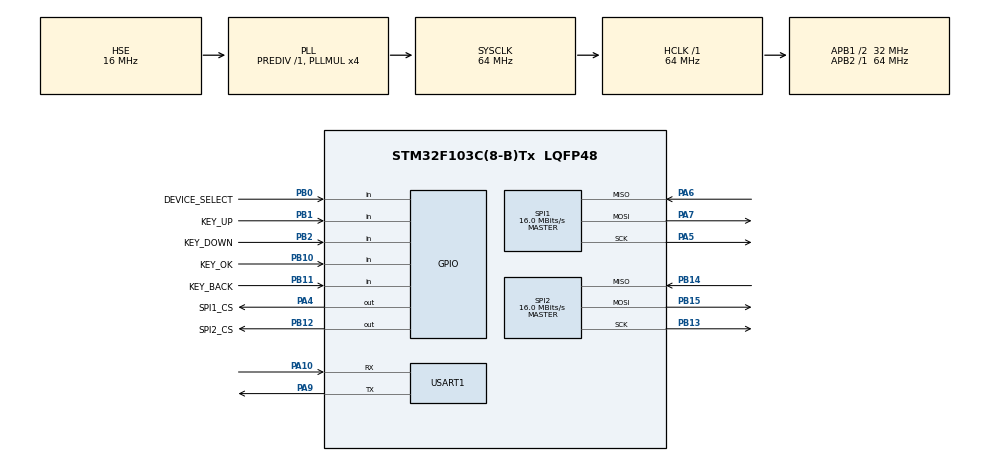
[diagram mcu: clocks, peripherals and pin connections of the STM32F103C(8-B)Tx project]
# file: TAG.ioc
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Mcu.Family=STM32F1
Mcu.Name=STM32F103C(8-B)Tx
Mcu.Package=LQFP48
NVIC.PriorityGroup=NVIC_PRIORITYGROUP_4
NVIC.TIM4_IRQn=true\:0\:0\:false\:false\:true\:true\:true\:true
NVIC.USART1_IRQn=true\:0\:0\:false\:false\:true\:true\:true\:true
PA10.Mode=Asynchronous
PA10.Signal=USART1_RX
PA13.Mode=Serial_Wire
PA13.Signal=SYS_JTMS-SWDIO
PA14.Mode=Serial_Wire
PA14.Signal=SYS_JTCK-SWCLK
PA4.GPIO_Label=SPI1_CS
PA4.GPIO_PuPd=GPIO_PULLUP
PA4.GPIO_Speed=GPIO_SPEED_FREQ_HIGH
PA4.PinState=GPIO_PIN_SET
PA4.Signal=GPIO_Output
PA5.Mode=Full_Duplex_Master
PA5.Signal=SPI1_SCK
PA6.Mode=Full_Duplex_Master
PA6.Signal=SPI1_MISO
PA7.Mode=Full_Duplex_Master
PA7.Signal=SPI1_MOSI
PA9.Mode=Asynchronous
PA9.Signal=USART1_TX
PB0.GPIO_Label=DEVICE_SELECT
PB0.GPIO_PuPd=GPIO_PULLUP
PB0.Signal=GPIO_Input
PB1.GPIO_Label=KEY_UP
PB1.GPIO_PuPd=GPIO_PULLUP
PB1.Signal=GPIO_Input
PB10.GPIO_Label=KEY_OK
PB10.GPIO_PuPd=GPIO_PULLUP
PB10.Signal=GPIO_Input
PB11.GPIO_Label=KEY_BACK
PB11.GPIO_PuPd=GPIO_PULLUP
PB11.Signal=GPIO_Input
PB12.GPIO_Label=SPI2_CS
PB12.GPIO_PuPd=GPIO_PULLUP
PB12.GPIO_Speed=GPIO_SPEED_FREQ_HIGH
PB12.PinState=GPIO_PIN_SET
PB12.Signal=GPIO_Output
PB13.Mode=Full_Duplex_Master
PB13.Signal=SPI2_SCK
PB14.Mode=Full_Duplex_Master
PB14.Signal=SPI2_MISO
PB15.Mode=Full_Duplex_Master
PB15.Signal=SPI2_MOSI
PB2.GPIO_Label=KEY_DOWN
PB2.GPIO_PuPd=GPIO_PULLUP
PB2.Signal=GPIO_Input
PD0-OSC_IN.Mode=HSE-External-Oscillator
PD0-OSC_IN.Signal=RCC_OSC_IN
PD1-OSC_OUT.Mode=HSE-External-Oscillator
PD1-OSC_OUT.Signal=RCC_OSC_OUT
ProjectManager.HeapSize=0x200
ProjectManager.StackSize=0x400
ProjectManager.TargetToolchain=STM32CubeIDE
RCC.AHBFreq_Value=64000000
RCC.APB1CLKDivider=RCC_HCLK_DIV2
RCC.APB1Freq_Value=32000000
RCC.APB1TimFreq_Value=64000000
RCC.APB2Freq_Value=64000000
RCC.APB2TimFreq_Value=64000000
RCC.HCLKFreq_Value=64000000
RCC.HSE_VALUE=16000000
RCC.PLLMUL=RCC_PLL_MUL4
RCC.PLLSourceVirtual=RCC_PLLSOURCE_HSE
RCC.SYSCLKFreq_VALUE=64000000
RCC.SYSCLKSource=RCC_SYSCLKSOURCE_PLLCLK
RCC.USBFreq_Value=64000000
SPI1.BaudRatePrescaler=SPI_BAUDRATEPRESCALER_4
SPI1.CalculateBaudRate=16.0 MBits/s
SPI1.Direction=SPI_DIRECTION_2LINES
SPI1.Mode=SPI_MODE_MASTER
SPI1.VirtualType=VM_MASTER
SPI2.BaudRatePrescaler=SPI_BAUDRATEPRESCALER_2
SPI2.CalculateBaudRate=16.0 MBits/s
SPI2.Direction=SPI_DIRECTION_2LINES
SPI2.Mode=SPI_MODE_MASTER
SPI2.VirtualType=VM_MASTER
TIM4.Period=320-1
TIM4.Prescaler=160-1
USART1.VirtualMode=VM_ASYNC
VP_TIM4_VS_ClockSourceINT.Mode=Internal
board=custom

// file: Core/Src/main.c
/* USER CODE BEGIN Header */
/**
  ******************************************************************************
  * @file           : main.c
  * @brief          : Main program body
  ******************************************************************************
  * @attention
  *
  * Copyright (c) 2024 STMicroelectronics.
  * All rights reserved.
  *
  * This software is licensed under terms that can be found in the LICENSE file
  * in the root directory of this software component.
  * If no LICENSE file comes with this software, it is provided AS-IS.
  *
  ******************************************************************************
  */
/* USER CODE END Header */
#include "main.h"

/* USER CODE BEGIN Includes */
#include "hmi_uart.h"
#include "Application.h"
#include "key.h"

/* USER CODE END Includes */

/* USER CODE BEGIN PTD */
struct flags_t flags;
/* USER CODE END PTD */

SPI_HandleTypeDef hspi1;
SPI_HandleTypeDef hspi2;

TIM_HandleTypeDef htim4;

UART_HandleTypeDef huart1;

void SystemClock_Config(void);
static void MX_GPIO_Init(void);
static void MX_SPI1_Init(void);
static void MX_SPI2_Init(void);
static void MX_TIM4_Init(void);
static void MX_USART1_UART_Init(void);

int main(void)
{
  /* USER CODE BEGIN 1 */
  HAL_DeInit();
  HAL_RCC_DeInit();

  /* USER CODE END 1 */

  /* MCU Configuration--------------------------------------------------------*/

  /* Reset of all peripherals, Initializes the Flash interface and the Systick. */
  HAL_Init();

  /* Configure the system clock */
  SystemClock_Config();

  /* Initialize all configured peripherals */
  MX_GPIO_Init();
  MX_SPI1_Init();
  MX_SPI2_Init();
  MX_TIM4_Init();
  MX_USART1_UART_Init();

  /* Infinite loop */
  /* USER CODE BEGIN WHILE */
  while (1)
  {
		if(flags.opt_1ms_flag == 10)
		{
			flags.opt_1ms_flag = 0;
			key_scan();
		}
		/* Receive information from the HMI display */
		hmi_recv();
		if(flags.func_allow_run == 1)
		{
			flags.func_allow_run = 0;
			if(flags.function != NULL)
			    flags.function();	//Run sample program
		}
    /* USER CODE END WHILE */

  }
}

void SystemClock_Config(void)
{
  RCC_OscInitTypeDef RCC_OscInitStruct = {0};
  RCC_ClkInitTypeDef RCC_ClkInitStruct = {0};

  /** Initializes the RCC Oscillators according to the specified parameters
  * in the RCC_OscInitTypeDef structure.
  */
  RCC_OscInitStruct.OscillatorType = RCC_OSCILLATORTYPE_HSE;
  RCC_OscInitStruct.HSEState = RCC_HSE_ON;
  RCC_OscInitStruct.HSEPredivValue = RCC_HSE_PREDIV_DIV1;
  RCC_OscInitStruct.HSIState = RCC_HSI_ON;
  RCC_OscInitStruct.PLL.PLLState = RCC_PLL_ON;
  RCC_OscInitStruct.PLL.PLLSource = RCC_PLLSOURCE_HSE;
  RCC_OscInitStruct.PLL.PLLMUL = RCC_PLL_MUL4;
  if (HAL_RCC_OscConfig(&RCC_OscInitStruct) != HAL_OK)
  {
    Error_Handler();
  }

  /** Initializes the CPU, AHB and APB buses clocks
  */
  RCC_ClkInitStruct.ClockType = RCC_CLOCKTYPE_HCLK|RCC_CLOCKTYPE_SYSCLK
                              |RCC_CLOCKTYPE_PCLK1|RCC_CLOCKTYPE_PCLK2;
  RCC_ClkInitStruct.SYSCLKSource = RCC_SYSCLKSOURCE_PLLCLK;
  RCC_ClkInitStruct.AHBCLKDivider = RCC_SYSCLK_DIV1;
  RCC_ClkInitStruct.APB1CLKDivider = RCC_HCLK_DIV2;
  RCC_ClkInitStruct.APB2CLKDivider = RCC_HCLK_DIV1;

  if (HAL_RCC_ClockConfig(&RCC_ClkInitStruct, FLASH_LATENCY_2) != HAL_OK)
  {
    Error_Handler();
  }
}

static void MX_SPI1_Init(void)
{

  /* SPI1 parameter configuration*/
  hspi1.Instance = SPI1;
  hspi1.Init.Mode = SPI_MODE_MASTER;
  hspi1.Init.Direction = SPI_DIRECTION_2LINES;
  hspi1.Init.DataSize = SPI_DATASIZE_8BIT;
  hspi1.Init.CLKPolarity = SPI_POLARITY_LOW;
  hspi1.Init.CLKPhase = SPI_PHASE_1EDGE;
  hspi1.Init.NSS = SPI_NSS_SOFT;
  hspi1.Init.BaudRatePrescaler = SPI_BAUDRATEPRESCALER_4;
  hspi1.Init.FirstBit = SPI_FIRSTBIT_MSB;
  hspi1.Init.TIMode = SPI_TIMODE_DISABLE;
  hspi1.Init.CRCCalculation = SPI_CRCCALCULATION_DISABLE;
  hspi1.Init.CRCPolynomial = 10;
  if (HAL_SPI_Init(&hspi1) != HAL_OK)
  {
    Error_Handler();
  }

}

static void MX_SPI2_Init(void)
{

  /* SPI2 parameter configuration*/
  hspi2.Instance = SPI2;
  hspi2.Init.Mode = SPI_MODE_MASTER;
  hspi2.Init.Direction = SPI_DIRECTION_2LINES;
  hspi2.Init.DataSize = SPI_DATASIZE_8BIT;
  hspi2.Init.CLKPolarity = SPI_POLARITY_LOW;
  hspi2.Init.CLKPhase = SPI_PHASE_1EDGE;
  hspi2.Init.NSS = SPI_NSS_SOFT;
  hspi2.Init.BaudRatePrescaler = SPI_BAUDRATEPRESCALER_2;
  hspi2.Init.FirstBit = SPI_FIRSTBIT_MSB;
  hspi2.Init.TIMode = SPI_TIMODE_DISABLE;
  hspi2.Init.CRCCalculation = SPI_CRCCALCULATION_DISABLE;
  hspi2.Init.CRCPolynomial = 10;
  if (HAL_SPI_Init(&hspi2) != HAL_OK)
  {
    Error_Handler();
  }

}

static void MX_TIM4_Init(void)
{

  TIM_ClockConfigTypeDef sClockSourceConfig = {0};
  TIM_MasterConfigTypeDef sMasterConfig = {0};

  htim4.Instance = TIM4;
  htim4.Init.Prescaler = 160-1;
  htim4.Init.CounterMode = TIM_COUNTERMODE_UP;
  htim4.Init.Period = 320-1;
  htim4.Init.ClockDivision = TIM_CLOCKDIVISION_DIV1;
  htim4.Init.AutoReloadPreload = TIM_AUTORELOAD_PRELOAD_DISABLE;
  if (HAL_TIM_Base_Init(&htim4) != HAL_OK)
  {
    Error_Handler();
  }
  sClockSourceConfig.ClockSource = TIM_CLOCKSOURCE_INTERNAL;
  if (HAL_TIM_ConfigClockSource(&htim4, &sClockSourceConfig) != HAL_OK)
  {
    Error_Handler();
  }
  sMasterConfig.MasterOutputTrigger = TIM_TRGO_RESET;
  sMasterConfig.MasterSlaveMode = TIM_MASTERSLAVEMODE_DISABLE;
  if (HAL_TIMEx_MasterConfigSynchronization(&htim4, &sMasterConfig) != HAL_OK)
  {
    Error_Handler();
  }
  /* USER CODE BEGIN TIM4_Init 2 */
  HAL_TIM_Base_Start_IT(&htim4);
  /* USER CODE END TIM4_Init 2 */

}

static void MX_USART1_UART_Init(void)
{

  huart1.Instance = USART1;
  huart1.Init.BaudRate = 115200;
  huart1.Init.WordLength = UART_WORDLENGTH_8B;
  huart1.Init.StopBits = UART_STOPBITS_1;
  huart1.Init.Parity = UART_PARITY_NONE;
  huart1.Init.Mode = UART_MODE_TX_RX;
  huart1.Init.HwFlowCtl = UART_HWCONTROL_NONE;
  huart1.Init.OverSampling = UART_OVERSAMPLING_16;
  if (HAL_UART_Init(&huart1) != HAL_OK)
  {
    Error_Handler();
  }
  /* USER CODE BEGIN USART1_Init 2 */

  HAL_UART_Receive_IT(&huart1, &recvChar, 1);

  /* USER CODE END USART1_Init 2 */

}

static void MX_GPIO_Init(void)
{
  GPIO_InitTypeDef GPIO_InitStruct = {0};

  /* GPIO Ports Clock Enable */
  __HAL_RCC_GPIOD_CLK_ENABLE();
  __HAL_RCC_GPIOA_CLK_ENABLE();
  __HAL_RCC_GPIOB_CLK_ENABLE();

  /*Configure GPIO pin Output Level */
  HAL_GPIO_WritePin(SPI1_CS_GPIO_Port, SPI1_CS_Pin, GPIO_PIN_SET);

  /*Configure GPIO pin Output Level */
  HAL_GPIO_WritePin(SPI2_CS_GPIO_Port, SPI2_CS_Pin, GPIO_PIN_SET);

  /*Configure GPIO pin : SPI1_CS_Pin */
  GPIO_InitStruct.Pin = SPI1_CS_Pin;
  GPIO_InitStruct.Mode = GPIO_MODE_OUTPUT_PP;
  GPIO_InitStruct.Pull = GPIO_PULLUP;
  GPIO_InitStruct.Speed = GPIO_SPEED_FREQ_HIGH;
  HAL_GPIO_Init(SPI1_CS_GPIO_Port, &GPIO_InitStruct);

  /*Configure GPIO pins : DEVICE_SELECT_Pin KEY_UP_Pin KEY_DOWN_Pin KEY_OK_Pin
                           KEY_BACK_Pin */
  GPIO_InitStruct.Pin = DEVICE_SELECT_Pin|KEY_UP_Pin|KEY_DOWN_Pin|KEY_OK_Pin
                          |KEY_BACK_Pin;
  GPIO_InitStruct.Mode = GPIO_MODE_INPUT;
  GPIO_InitStruct.Pull = GPIO_PULLUP;
  HAL_GPIO_Init(GPIOB, &GPIO_InitStruct);

  /*Configure GPIO pin : SPI2_CS_Pin */
  GPIO_InitStruct.Pin = SPI2_CS_Pin;
  GPIO_InitStruct.Mode = GPIO_MODE_OUTPUT_PP;
  GPIO_InitStruct.Pull = GPIO_PULLUP;
  GPIO_InitStruct.Speed = GPIO_SPEED_FREQ_HIGH;
  HAL_GPIO_Init(SPI2_CS_GPIO_Port, &GPIO_InitStruct);

}

void Error_Handler(void)
{
  __disable_irq();
  while (1)
  {
  }
}
